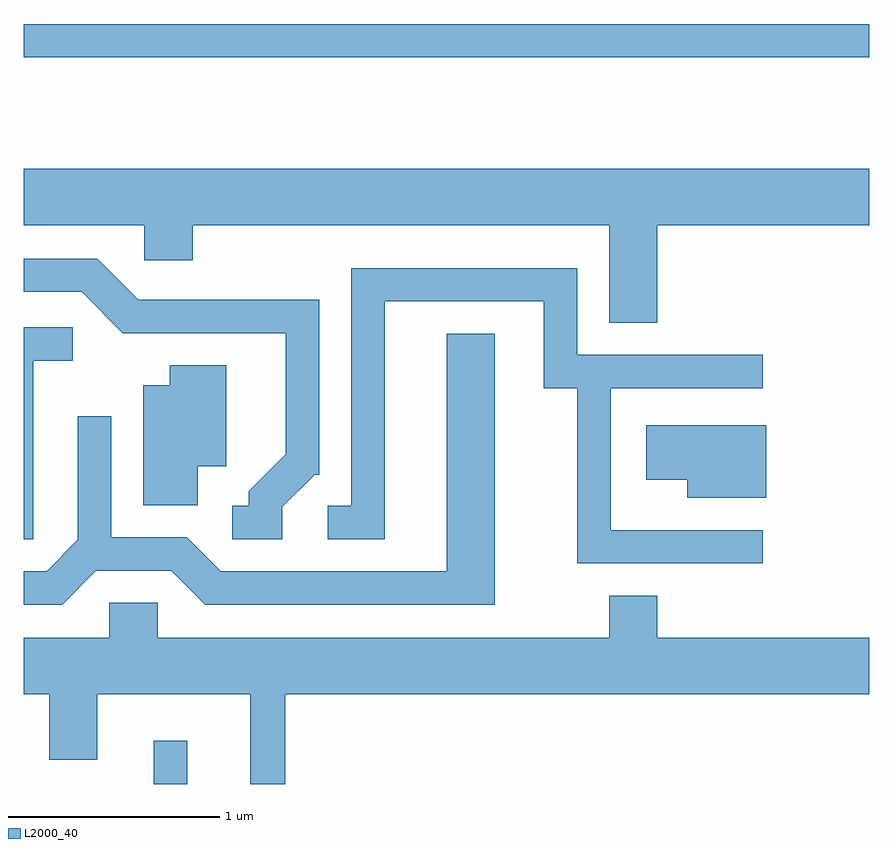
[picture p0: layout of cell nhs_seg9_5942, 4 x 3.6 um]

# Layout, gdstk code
import gdstk
lib = gdstk.Library(unit=1e-6, precision=1e-09)
def R(c, l, rs):  # rectangles x0, y0, x1, y1
    for r in rs: c.add(gdstk.rectangle(r[:2], r[2:], *l))
def P(c, l, *ps):  # polygons
    for p in ps: c.add(gdstk.Polygon(p, *l))
L2000_40 = (2000, 40)

nhs_seg9_5942 = lib.new_cell('nhs_seg9_5942')
R(nhs_seg9_5942, L2000_40, [(360.226,2062.432,360.384,2062.637), (359.611,2065.871,363.611,2066.029)])
P(nhs_seg9_5942, L2000_40, [(362.609,2065.076),(363.611,2065.076),(363.611,2065.344),(359.611,2065.344),(359.611,2065.076),(360.181,2065.076),(360.181,2064.911),(360.409,2064.911),(360.409,2065.076),(362.381,2065.076),(362.381,2064.616),(362.609,2064.616)],
  [(360.834,2063.744),(360.987,2063.896),(361.009,2063.896),(361.009,2064.724),(360.152,2064.724),(359.957,2064.919),(359.611,2064.919),(359.611,2064.761),(359.884,2064.761),(360.079,2064.566),(360.851,2064.566),(360.851,2063.992),(360.676,2063.817),(360.676,2063.749),(360.598,2063.749),(360.598,2063.591),(360.834,2063.591)],
  [(363.108,2063.634),(362.389,2063.634),(362.389,2064.306),(363.108,2064.306),(363.108,2064.464),(362.229,2064.464),(362.229,2064.874),(361.161,2064.874),(361.161,2063.749),(361.048,2063.749),(361.048,2063.591),(361.319,2063.591),(361.319,2064.716),(362.071,2064.716),(362.071,2064.306),(362.231,2064.306),(362.231,2063.476),(363.108,2063.476)],
  [(359.654,2064.436),(359.843,2064.436),(359.843,2064.594),(359.611,2064.594),(359.611,2063.591),(359.654,2063.591)],
  [(359.952,2063.441),(360.309,2063.441),(360.469,2063.281),(361.839,2063.281),(361.839,2064.564),(361.611,2064.564),(361.611,2063.439),(360.542,2063.439),(360.382,2063.599),(360.024,2063.599),(360.024,2064.173),(359.866,2064.173),(359.866,2063.587),(359.719,2063.439),(359.611,2063.439),(359.611,2063.281),(359.792,2063.281)],
  [(360.434,2063.936),(360.569,2063.936),(360.569,2064.414),(360.301,2064.414),(360.301,2064.319),(360.176,2064.319),(360.176,2063.751),(360.434,2063.751)],
  [(363.124,2064.129),(362.556,2064.129),(362.556,2063.871),(362.751,2063.871),(362.751,2063.786),(363.124,2063.786)],
  [(360.849,2062.856),(363.611,2062.856),(363.611,2063.124),(362.609,2063.124),(362.609,2063.324),(362.381,2063.324),(362.381,2063.124),(360.244,2063.124),(360.244,2063.289),(360.016,2063.289),(360.016,2063.124),(359.611,2063.124),(359.611,2062.856),(359.731,2062.856),(359.731,2062.546),(359.959,2062.546),(359.959,2062.856),(360.681,2062.856),(360.681,2062.432),(360.849,2062.432)])

lib.write_gds('nhs_seg9_5942.gds')
